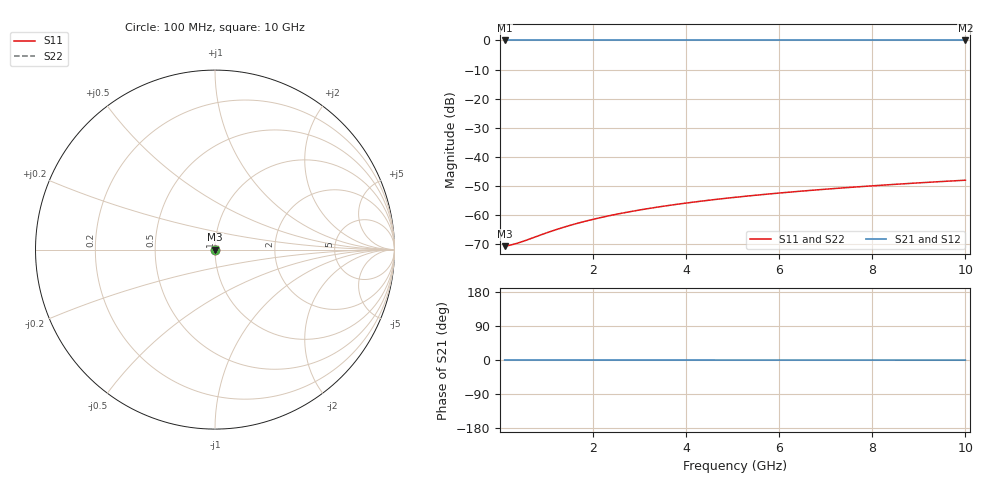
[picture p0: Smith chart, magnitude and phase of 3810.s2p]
# Hz S RI R 50.00
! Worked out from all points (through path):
!   100 points, 100 MHz to 10 GHz, reference 50 ohm
!   highest |S21| = 0.00 dB at 100 MHz (marker M1); lowest = 0.0 dB at 10 GHz (marker M2)
!   lowest |S11| = -70.6 dB at 100 MHz (marker M3), VSWR 1.00, Z = 50 + j0.00398 ohm
!   |S11| at or under -10 dB: start of sweep to end of sweep
!   |S22| runs from -70.6 to -48.0 dB; largest |S21 - S12| = 1e-16
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1e8  0.000293 3.97e-05  0.9997 -5.53e-05  0.9997 -5.53e-05  0.000293 3.97e-05
2e8  0.000295 7.95e-05  0.9997 -0.000111  0.9997 -0.000111  0.000295 7.95e-05
3e8  0.000296 0.000119  0.9997 -0.000166  0.9997 -0.000166  0.000296 0.000119
4e8  0.000297 0.000159  0.9997 -0.000221  0.9997 -0.000221  0.000297 0.000159
6e8  0.000299 0.000238  0.9997 -0.000332  0.9997 -0.000332  0.000299 0.000238
1e9  0.000302 0.000397  0.9997 -0.000553  0.9997 -0.000553  0.000302 0.000397
1.2e9  0.000303 0.000477  0.9997 -0.000664  0.9997 -0.000664  0.000303 0.000477
1.5e9  0.000305 0.000596  0.9997 -0.00083  0.9997 -0.00083  0.000305 0.000596
1.8e9  0.000306 0.000715  0.9997 -0.000996  0.9997 -0.000996  0.000306 0.000715
2.1e9  0.000307 0.000835  0.9997 -0.00116  0.9997 -0.00116  0.000307 0.000835
2.5e9  0.000309 0.000994  0.9997 -0.00138  0.9997 -0.00138  0.000309 0.000994
2.9e9  0.000311 0.00115  0.9997 -0.0016  0.9997 -0.0016  0.000311 0.00115
3.4e9  0.000313 0.00135  0.9997 -0.00188  0.9997 -0.00188  0.000313 0.00135
3.8e9  0.000315 0.00151  0.9997 -0.0021  0.9997 -0.0021  0.000315 0.00151
4.2e9  0.000316 0.00167  0.9997 -0.00232  0.9997 -0.00232  0.000316 0.00167
4.6e9  0.000318 0.00183  0.9997 -0.00255  0.9997 -0.00255  0.000318 0.00183
5.1e9  0.00032 0.00203  0.9997 -0.00282  0.9997 -0.00282  0.00032 0.00203
5.9e9  0.000324 0.00235  0.9997 -0.00327  0.9997 -0.00327  0.000324 0.00235
6.7e9  0.000328 0.00267  0.9997 -0.00371  0.9997 -0.00371  0.000328 0.00267
7.5e9  0.000332 0.00299  0.9997 -0.00415  0.9997 -0.00415  0.000332 0.00299
8.4e9  0.000337 0.00334  0.9997 -0.00466  0.9997 -0.00466  0.000337 0.00334
1e10  0.000347 0.00399  0.9996 -0.00555  0.9996 -0.00555  0.000347 0.00399
